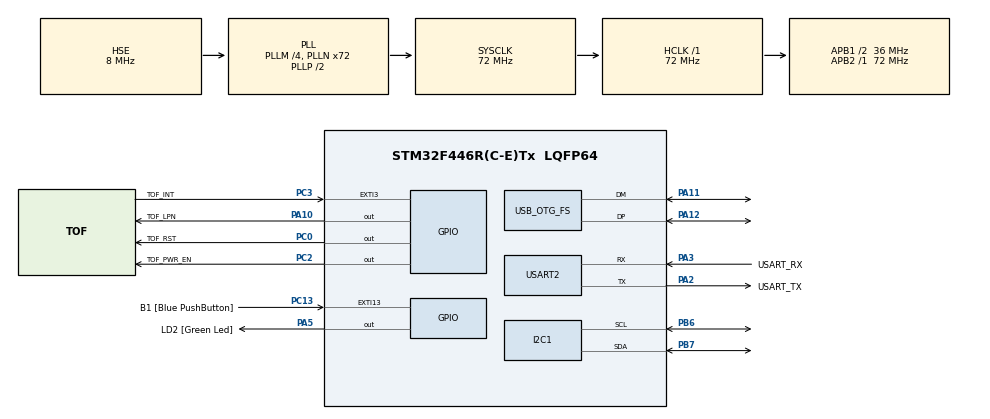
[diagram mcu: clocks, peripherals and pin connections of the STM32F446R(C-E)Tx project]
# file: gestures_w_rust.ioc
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I2C1.I2C_Mode=I2C_Fast
Mcu.Family=STM32F4
Mcu.Name=STM32F446R(C-E)Tx
Mcu.Package=LQFP64
NVIC.EXTI15_10_IRQn=true\:0\:0\:false\:false\:true\:true\:true\:true
NVIC.EXTI3_IRQn=true\:0\:0\:false\:false\:true\:true\:true\:true
NVIC.OTG_FS_IRQn=true\:0\:0\:false\:false\:true\:true\:true\:true
NVIC.PriorityGroup=NVIC_PRIORITYGROUP_0
PA10.GPIO_Label=TOF_LPN
PA10.Signal=GPIO_Output
PA11.Mode=Device_Only
PA11.Signal=USB_OTG_FS_DM
PA12.Mode=Device_Only
PA12.Signal=USB_OTG_FS_DP
PA13.GPIO_Label=TMS
PA13.Mode=Serial_Wire
PA13.Signal=SYS_JTMS-SWDIO
PA14.GPIO_Label=TCK
PA14.Mode=Serial_Wire
PA14.Signal=SYS_JTCK-SWCLK
PA2.GPIO_Label=USART_TX
PA2.Mode=Asynchronous
PA2.Signal=USART2_TX
PA3.GPIO_Label=USART_RX
PA3.Mode=Asynchronous
PA3.Signal=USART2_RX
PA5.GPIO_Label=LD2 [Green Led]
PA5.Signal=GPIO_Output
PB3.GPIO_Label=SWO
PB3.Signal=SYS_JTDO-SWO
PB6.Mode=I2C
PB6.Signal=I2C1_SCL
PB7.Mode=I2C
PB7.Signal=I2C1_SDA
PC0.GPIO_Label=TOF_RST
PC0.Signal=GPIO_Output
PC13.GPIO_Label=B1 [Blue PushButton]
PC13.GPIO_ModeDefaultEXTI=GPIO_MODE_IT_FALLING
PC13.Signal=GPXTI13
PC14-OSC32_IN.Mode=LSE-External-Oscillator
PC14-OSC32_IN.Signal=RCC_OSC32_IN
PC15-OSC32_OUT.Mode=LSE-External-Oscillator
PC15-OSC32_OUT.Signal=RCC_OSC32_OUT
PC2.GPIO_Label=TOF_PWR_EN
PC2.Signal=GPIO_Output
PC3.GPIO_Label=TOF_INT
PC3.Signal=GPXTI3
PH0-OSC_IN.Mode=HSE-External-Oscillator
PH0-OSC_IN.Signal=RCC_OSC_IN
PH1-OSC_OUT.Mode=HSE-External-Oscillator
PH1-OSC_OUT.Signal=RCC_OSC_OUT
ProjectManager.HeapSize=0x200
ProjectManager.StackSize=0x800
ProjectManager.TargetToolchain=STM32CubeIDE
RCC.48MHZClocksFreq_Value=84000000
RCC.AHBFreq_Value=72000000
RCC.APB1CLKDivider=RCC_HCLK_DIV2
RCC.APB1Freq_Value=36000000
RCC.APB1TimFreq_Value=72000000
RCC.APB2Freq_Value=72000000
RCC.APB2TimFreq_Value=72000000
RCC.CortexFreq_Value=72000000
RCC.FLatency-AdvancedSettings=FLASH_LATENCY_2
RCC.HCLKFreq_Value=72000000
RCC.HSE_VALUE=8000000
RCC.HSI_VALUE=16000000
RCC.PLLM=4
RCC.PLLN=72
RCC.PLLQ=3
RCC.SYSCLKFreq_VALUE=72000000
RCC.SYSCLKSource=RCC_SYSCLKSOURCE_PLLCLK
RCC.USBFreq_Value=48000000
RCC.VCOOutputFreq_Value=144000000
USART2.VirtualMode=VM_ASYNC
USB_OTG_FS.VirtualMode=Device_Only
board=NUCLEO-F446RE

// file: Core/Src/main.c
/* USER CODE BEGIN Header */
/**
 ******************************************************************************
 * @file           : main.c
 * @brief          : Main program body
 ******************************************************************************
 * @attention
 *
 * Copyright (c) 2022 STMicroelectronics.
 * All rights reserved.
 *
 * This software is licensed under terms that can be found in the LICENSE file
 * in the root directory of this software component.
 * If no LICENSE file comes with this software, it is provided AS-IS.
 *
 ******************************************************************************
 */
/* USER CODE END Header */
#include "main.h"

/* USER CODE BEGIN Includes */
#include <stdio.h>
#include <math.h>
#include "tusb.h"

#include "vl53l5cx_api.h"
#include "wave.h"

/* USER CODE END Includes */

/* USER CODE BEGIN PD */
#define ASCII_ESC 27
/* USER CODE END PD */

I2C_HandleTypeDef hi2c1;

UART_HandleTypeDef huart2;

PCD_HandleTypeDef hpcd_USB_OTG_FS;

/* USER CODE BEGIN PV */
VL53L5CX_Configuration TOF_Dev; /* Sensor configuration */
GestureRecognizer_RES_X__RES_Y__HISTORY_SIZE gesture_recognizer;
static int tof_ready_int;

/* USER CODE END PV */

void SystemClock_Config(void);
static void MX_GPIO_Init(void);
static void MX_USART2_UART_Init(void);
static void MX_I2C1_Init(void);
static void MX_USB_OTG_FS_PCD_Init(void);
/* USER CODE BEGIN PFP */

static uint8_t tof_init(void);
static void tof_results_print(VL53L5CX_ResultsData *TOF_Results);
static SensorMeasurement_RES_X__RES_Y tof_convert_measurement(
		VL53L5CX_ResultsData *measurement, uint32_t time_ms);
static void recognizer_hand_state_print(RecognizerResult *result);
static void recognizer_gestures_print(RecognizerResult *result);
static void hid_report_recognized_gestures(RecognizerResult *result);

/* USER CODE END PFP */

/* USER CODE BEGIN 0 */
volatile int button_pressed;

/* USER CODE END 0 */

int main(void)
{
  /* USER CODE BEGIN 1 */
	int status = 0;

  /* USER CODE END 1 */

  /* MCU Configuration--------------------------------------------------------*/

  /* Reset of all peripherals, Initializes the Flash interface and the Systick. */
  HAL_Init();

  /* Configure the system clock */
  SystemClock_Config();

  /* Initialize all configured peripherals */
  MX_GPIO_Init();
  MX_USART2_UART_Init();
  MX_I2C1_Init();
  MX_USB_OTG_FS_PCD_Init();
  /* USER CODE BEGIN 2 */

	tusb_init();

	status = tof_init();
	if (status) {
		printf("tof init failed. code: %i\r\n", status);
		return status;
	}

	RecognizerParams recognizer_params = recognizer_params_default();
	SensorParams sensor_params = sensor_params_default_vl53l5cx();

	gesture_recognizer = gesture_recognizer_new(recognizer_params, sensor_params);

	// Move cursor to top left corner
	printf("%c[f", ASCII_ESC);
	// Clear screen
	printf("%c[2J", ASCII_ESC);

	printf("init done.\r\n");

  /* USER CODE END 2 */

  /* Infinite loop */
	while (1) {

    /* USER CODE BEGIN 3 */
		tud_task();

		if (button_pressed) {
			button_pressed = 0;
			// For debugging any actions that need an activation
			printf("Button pressed.\r\n");
		}

		if (tof_ready_int) {
			tof_ready_int = 0;

			VL53L5CX_ResultsData TOF_Results = { 0 };
			RecognizerResult recognizer_result = recognizer_result_default();

			vl53l5cx_get_ranging_data(&TOF_Dev, &TOF_Results);

			SensorMeasurement_RES_X__RES_Y converted_measurement =
					tof_convert_measurement(&TOF_Results, HAL_GetTick());

			gesture_recognizer_update(&gesture_recognizer,
					converted_measurement, &recognizer_result);

			hid_report_recognized_gestures(&recognizer_result);

			// Move cursor to top left corner
			//printf("%c[f", ASCII_ESC);
			// Clear screen
			//printf("%c[2J", ASCII_ESC);

			//tof_results_print(&TOF_Results);
			recognizer_hand_state_print(&recognizer_result);
			recognizer_gestures_print(&recognizer_result);
		}
	}
  /* USER CODE END 3 */
}

void SystemClock_Config(void)
{
  RCC_OscInitTypeDef RCC_OscInitStruct = {0};
  RCC_ClkInitTypeDef RCC_ClkInitStruct = {0};

  /** Configure the main internal regulator output voltage
  */
  __HAL_RCC_PWR_CLK_ENABLE();
  __HAL_PWR_VOLTAGESCALING_CONFIG(PWR_REGULATOR_VOLTAGE_SCALE3);

  /** Initializes the RCC Oscillators according to the specified parameters
  * in the RCC_OscInitTypeDef structure.
  */
  RCC_OscInitStruct.OscillatorType = RCC_OSCILLATORTYPE_HSE;
  RCC_OscInitStruct.HSEState = RCC_HSE_ON;
  RCC_OscInitStruct.PLL.PLLState = RCC_PLL_ON;
  RCC_OscInitStruct.PLL.PLLSource = RCC_PLLSOURCE_HSE;
  RCC_OscInitStruct.PLL.PLLM = 4;
  RCC_OscInitStruct.PLL.PLLN = 72;
  RCC_OscInitStruct.PLL.PLLP = RCC_PLLP_DIV2;
  RCC_OscInitStruct.PLL.PLLQ = 3;
  RCC_OscInitStruct.PLL.PLLR = 2;
  if (HAL_RCC_OscConfig(&RCC_OscInitStruct) != HAL_OK)
  {
    Error_Handler();
  }

  /** Initializes the CPU, AHB and APB buses clocks
  */
  RCC_ClkInitStruct.ClockType = RCC_CLOCKTYPE_HCLK|RCC_CLOCKTYPE_SYSCLK
                              |RCC_CLOCKTYPE_PCLK1|RCC_CLOCKTYPE_PCLK2;
  RCC_ClkInitStruct.SYSCLKSource = RCC_SYSCLKSOURCE_PLLCLK;
  RCC_ClkInitStruct.AHBCLKDivider = RCC_SYSCLK_DIV1;
  RCC_ClkInitStruct.APB1CLKDivider = RCC_HCLK_DIV2;
  RCC_ClkInitStruct.APB2CLKDivider = RCC_HCLK_DIV1;

  if (HAL_RCC_ClockConfig(&RCC_ClkInitStruct, FLASH_LATENCY_2) != HAL_OK)
  {
    Error_Handler();
  }
}

static void MX_I2C1_Init(void)
{

  hi2c1.Instance = I2C1;
  hi2c1.Init.ClockSpeed = 400000;
  hi2c1.Init.DutyCycle = I2C_DUTYCYCLE_2;
  hi2c1.Init.OwnAddress1 = 0;
  hi2c1.Init.AddressingMode = I2C_ADDRESSINGMODE_7BIT;
  hi2c1.Init.DualAddressMode = I2C_DUALADDRESS_DISABLE;
  hi2c1.Init.OwnAddress2 = 0;
  hi2c1.Init.GeneralCallMode = I2C_GENERALCALL_DISABLE;
  hi2c1.Init.NoStretchMode = I2C_NOSTRETCH_DISABLE;
  if (HAL_I2C_Init(&hi2c1) != HAL_OK)
  {
    Error_Handler();
  }

}

static void MX_USART2_UART_Init(void)
{

  huart2.Instance = USART2;
  huart2.Init.BaudRate = 115200;
  huart2.Init.WordLength = UART_WORDLENGTH_8B;
  huart2.Init.StopBits = UART_STOPBITS_1;
  huart2.Init.Parity = UART_PARITY_NONE;
  huart2.Init.Mode = UART_MODE_TX_RX;
  huart2.Init.HwFlowCtl = UART_HWCONTROL_NONE;
  huart2.Init.OverSampling = UART_OVERSAMPLING_16;
  if (HAL_UART_Init(&huart2) != HAL_OK)
  {
    Error_Handler();
  }

}

static void MX_USB_OTG_FS_PCD_Init(void)
{

  hpcd_USB_OTG_FS.Instance = USB_OTG_FS;
  hpcd_USB_OTG_FS.Init.dev_endpoints = 6;
  hpcd_USB_OTG_FS.Init.speed = PCD_SPEED_FULL;
  hpcd_USB_OTG_FS.Init.dma_enable = DISABLE;
  hpcd_USB_OTG_FS.Init.phy_itface = PCD_PHY_EMBEDDED;
  hpcd_USB_OTG_FS.Init.Sof_enable = DISABLE;
  hpcd_USB_OTG_FS.Init.low_power_enable = DISABLE;
  hpcd_USB_OTG_FS.Init.lpm_enable = DISABLE;
  hpcd_USB_OTG_FS.Init.vbus_sensing_enable = DISABLE;
  hpcd_USB_OTG_FS.Init.use_dedicated_ep1 = DISABLE;
  if (HAL_PCD_Init(&hpcd_USB_OTG_FS) != HAL_OK)
  {
    Error_Handler();
  }

}

static void MX_GPIO_Init(void)
{
  GPIO_InitTypeDef GPIO_InitStruct = {0};

  /* GPIO Ports Clock Enable */
  __HAL_RCC_GPIOC_CLK_ENABLE();
  __HAL_RCC_GPIOH_CLK_ENABLE();
  __HAL_RCC_GPIOA_CLK_ENABLE();
  __HAL_RCC_GPIOB_CLK_ENABLE();

  /*Configure GPIO pin Output Level */
  HAL_GPIO_WritePin(GPIOC, TOF_RST_Pin|TOF_PWR_EN_Pin, GPIO_PIN_RESET);

  /*Configure GPIO pin Output Level */
  HAL_GPIO_WritePin(GPIOA, LD2_Pin|TOF_LPN_Pin, GPIO_PIN_RESET);

  /*Configure GPIO pin : B1_Pin */
  GPIO_InitStruct.Pin = B1_Pin;
  GPIO_InitStruct.Mode = GPIO_MODE_IT_FALLING;
  GPIO_InitStruct.Pull = GPIO_NOPULL;
  HAL_GPIO_Init(B1_GPIO_Port, &GPIO_InitStruct);

  /*Configure GPIO pins : TOF_RST_Pin TOF_PWR_EN_Pin */
  GPIO_InitStruct.Pin = TOF_RST_Pin|TOF_PWR_EN_Pin;
  GPIO_InitStruct.Mode = GPIO_MODE_OUTPUT_PP;
  GPIO_InitStruct.Pull = GPIO_NOPULL;
  GPIO_InitStruct.Speed = GPIO_SPEED_FREQ_LOW;
  HAL_GPIO_Init(GPIOC, &GPIO_InitStruct);

  /*Configure GPIO pin : TOF_INT_Pin */
  GPIO_InitStruct.Pin = TOF_INT_Pin;
  GPIO_InitStruct.Mode = GPIO_MODE_IT_RISING;
  GPIO_InitStruct.Pull = GPIO_NOPULL;
  HAL_GPIO_Init(TOF_INT_GPIO_Port, &GPIO_InitStruct);

  /*Configure GPIO pins : LD2_Pin TOF_LPN_Pin */
  GPIO_InitStruct.Pin = LD2_Pin|TOF_LPN_Pin;
  GPIO_InitStruct.Mode = GPIO_MODE_OUTPUT_PP;
  GPIO_InitStruct.Pull = GPIO_NOPULL;
  GPIO_InitStruct.Speed = GPIO_SPEED_FREQ_LOW;
  HAL_GPIO_Init(GPIOA, &GPIO_InitStruct);

  /* EXTI interrupt init*/
  HAL_NVIC_SetPriority(EXTI3_IRQn, 0, 0);
  HAL_NVIC_EnableIRQ(EXTI3_IRQn);

  HAL_NVIC_SetPriority(EXTI15_10_IRQn, 0, 0);
  HAL_NVIC_EnableIRQ(EXTI15_10_IRQn);

}

/* USER CODE BEGIN 4 */
int _write(int file, char *ptr, int len) {
	return HAL_UART_Transmit(&huart2, (uint8_t*) ptr, len, HAL_MAX_DELAY);
}

static uint8_t tof_init(void) {
	uint8_t status = 0;
	uint8_t isAlive = 0;
	TOF_Dev.platform.address = VL53L5CX_DEFAULT_I2C_ADDRESS;

	status = Reset_Sensor(&TOF_Dev.platform);

	status = vl53l5cx_is_alive(&TOF_Dev, &isAlive);
	if (!isAlive || status) {
		printf("VL53L5CX not detected at requested address\r\n");
		return status;
	}

	/* (Mandatory) Init VL53L5CX sensor */
	status = vl53l5cx_init(&TOF_Dev);
	if (status) {
		printf("VL53L5CX ULD Loading failed\r\n");
		return status;
	}

	status = vl53l5cx_set_resolution(&TOF_Dev, VL53L5CX_RESOLUTION_8X8);
	if (status) {
		printf("VL53L5CX ULD set resolution failed\r\n");
		return status;
	}

	// max 60Hz for resolution 4x4, max 15Hz for 8x8
	status = vl53l5cx_set_ranging_frequency_hz(&TOF_Dev, 15);
	if (status) {
		printf("VL53L5CX ULD set ranging frequency failed\r\n");
		return status;
	}

	status = vl53l5cx_start_ranging(&TOF_Dev);
	if (status) {
		printf("VL53L5CX ULD Start ranging failed\r\n");
		return status;
	}

	return 0;
}

static void tof_results_print(VL53L5CX_ResultsData *TOF_Results) {
	printf("TOF Sensor:\r\n");
	printf("data no : %3u\r\n", TOF_Dev.streamcount);

	// Print status as matrix
	printf("Status:\r\n");
	for (int y = 0; y < RES_Y; y++) {
		for (int x = 0; x < RES_X; x++) {
			printf("[ %3u ] ",
					TOF_Results->target_status[VL53L5CX_NB_TARGET_PER_ZONE
							* ((y * RES_Y) + x)]);

		};
		printf("\r\n");
	}
	printf("\r\n\r\n");

	// print dist as matrix
	printf("Distance:\r\n");
	for (int y = 0; y < RES_Y; y++) {
		for (int x = 0; x < RES_X; x++) {

			printf("[ %4d ] ",
					TOF_Results->distance_mm[VL53L5CX_NB_TARGET_PER_ZONE
							* ((y * RES_Y) + x)]);

		};
		printf("\r\n");
	}
	printf("\r\n");
}

static SensorMeasurement_RES_X__RES_Y tof_convert_measurement(
		VL53L5CX_ResultsData *measurement, uint32_t time_ms) {
	SensorMeasurement_RES_X__RES_Y converted = sensor_measurement_invalid();

	for (size_t y = 0; y < RES_Y; y++) {
		for (size_t x = 0; x < RES_X; x++) {
			uint8_t status = measurement->target_status[(y * RES_Y) + x];

			// only use valid measurements (valid are status 5: confidence 100%, status 6, 9: confidence > 50%.
			// see um2884 - page 14 )
			if (status == 5 || status == 6 || status == 9) {
				converted.zone_dist[y][x] =
						measurement->distance_mm[VL53L5CX_NB_TARGET_PER_ZONE
								* ((y * RES_Y) + x)];
			}
		}
	}

	converted.time_ms = time_ms;

	return converted;
}

static void recognizer_hand_state_print(RecognizerResult *result) {
	if (result->hand_state.tag == HandFound) {
		/*
		// Print in sphercial coordinates

		printf("hand_r=%02d, hand_theta=%02d, hand_phi=%02d,",
				(int) roundf(result->hand_state.hand_found.hand_pos.r),
				(int) roundf(result->hand_state.hand_found.hand_pos.theta * 57.29),
				(int) roundf(result->hand_state.hand_found.hand_pos.phi * 57.29));
		 */

		// Print in cartesian coordinates
		CoordsCartesian hand_pos_cart = coords_cartesian_from_spherical(
				result->hand_state.hand_found.hand_pos);

		printf("t=%lu, hand_x=%04d, hand_y=%04d, hand_z=%04d\r\n",
				HAL_GetTick(),
				(int) roundf(hand_pos_cart.x),
				(int) roundf(hand_pos_cart.y),
				(int) roundf(hand_pos_cart.z));

	}
}

static void recognizer_gestures_print(RecognizerResult *result) {
	switch (result->gesture) {
	case GestureNone: {
		break;
	}
	case GestureStaticHold: {
		printf("Gesture detected: Static hold\r\n");

		break;
	}
	case GestureSwipeRight: {
		printf("Gesture detected: Swipe right\r\n");

		break;
	}
	case GestureSwipeLeft: {
		printf("Gesture detected: Swipe left\r\n");

		break;
	}
	case GestureSwipeUp: {
		printf("Gesture detected: Swipe up\r\n");

		break;
	}
	case GestureSwipeDown: {
		printf("Gesture detected: Swipe down\r\n");

		break;
	}
	default:
		break;
	}

	return;
}

// The loop calling this function must not block, or multiple keypresses are reported.
static void hid_report_recognized_gestures(RecognizerResult *result) {
	// use to avoid send multiple consecutive zero report for keyboard
	static bool has_key = false;

	if (tud_hid_n_ready(ITF_KEYBOARD)) {
		switch (result->gesture) {
		case GestureNone: {
			// send empty key report if previously a gesture was recognized
			if (has_key)
				tud_hid_n_keyboard_report(ITF_KEYBOARD, 0, 0, NULL);
			has_key = false;

			break;
		}
		case GestureStaticHold: {
			uint8_t keycode[6] = { 0 };
			keycode[0] = HID_KEY_SPACE;

			tud_hid_n_keyboard_report(ITF_KEYBOARD, 0, 0, keycode);
			has_key = true;
			break;
		}
		case GestureSwipeRight: {
			uint8_t keycode[6] = { 0 };
			keycode[0] = HID_KEY_ARROW_RIGHT;

			tud_hid_n_keyboard_report(ITF_KEYBOARD, 0, 0, keycode);
			has_key = true;

			break;
		}
		case GestureSwipeLeft: {
			uint8_t keycode[6] = { 0 };
			keycode[0] = HID_KEY_ARROW_LEFT;

			tud_hid_n_keyboard_report(ITF_KEYBOARD, 0, 0, keycode);
			has_key = true;

			break;
		}
		case GestureSwipeUp: {
			uint8_t keycode[6] = { 0 };
			keycode[0] = HID_KEY_ARROW_UP;

			tud_hid_n_keyboard_report(ITF_KEYBOARD, 0, 0, keycode);
			has_key = true;

			break;
		}
		case GestureSwipeDown: {
			uint8_t keycode[6] = { 0 };
			keycode[0] = HID_KEY_ARROW_DOWN;

			tud_hid_n_keyboard_report(ITF_KEYBOARD, 0, 0, keycode);
			has_key = true;

			break;
		}
		default:
			break;
		}
	}

	return;
}

void HAL_GPIO_EXTI_Callback(uint16_t GPIO_Pin) {
	if (GPIO_Pin == TOF_INT_Pin) {
		tof_ready_int++;
	} else if (GPIO_Pin == B1_Pin) {
		button_pressed = 1;
	}
}

// Invoked when received GET_REPORT control request
// Application must fill buffer report's content and return its length.
// Return zero will cause the stack to STALL request
uint16_t tud_hid_get_report_cb(uint8_t itf, uint8_t report_id,
		hid_report_type_t report_type, uint8_t *buffer, uint16_t reqlen) {
// TODO not Implemented
	(void) itf;
	(void) report_id;
	(void) report_type;
	(void) buffer;
	(void) reqlen;

	return 0;
}

// Invoked when received SET_REPORT control request or
// received data on OUT endpoint ( Report ID = 0, Type = 0 )
void tud_hid_set_report_cb(uint8_t itf, uint8_t report_id,
		hid_report_type_t report_type, uint8_t const *buffer, uint16_t bufsize) {
// This example doesn't use multiple report and report ID
	(void) itf;
	(void) report_id;
	(void) report_type;

// echo back anything we received from host
	tud_hid_report(0, buffer, bufsize);
}

/* USER CODE END 4 */

void Error_Handler(void)
{
	__disable_irq();
	while (1) {
	}
}
